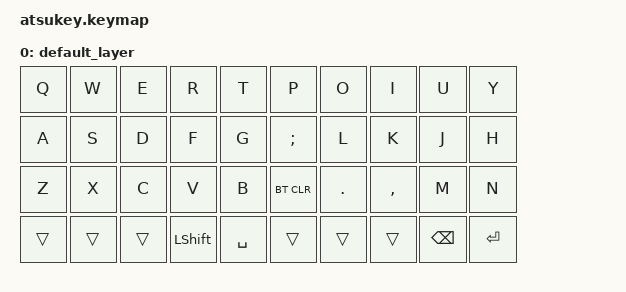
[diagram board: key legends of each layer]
#include <behaviors.dtsi>
#include <dt-bindings/zmk/keys.h>
#include <dt-bindings/zmk/bt.h>

/ {
  keymap {
    compatible = "zmk,keymap";
    default_layer {
      bindings = <
        &kp Q  &kp W  &kp E  &kp R      &kp T        &kp P      &kp O   &kp I     &kp U    &kp Y
        &kp A  &kp S  &kp D  &kp F      &kp G        &kp SCLN   &kp L   &kp K     &kp J    &kp H
        &kp Z  &kp X  &kp C  &kp V      &kp B        &bt BT_CLR &kp DOT &kp COMMA &kp M    &kp N
        &trans &trans &trans &kp LSHIFT &kp SPACE    &trans     &trans  &trans    &kp BSPC &kp ENTER
      >;
    };
  };
};
